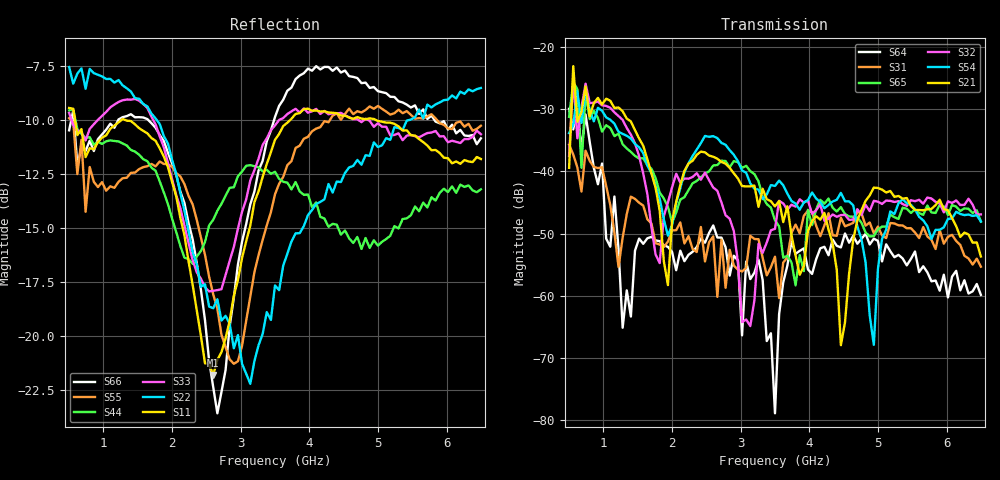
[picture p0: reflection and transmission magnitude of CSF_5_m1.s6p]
!Keysight Technologies,M9804A,MY58100912,A.14.10.03
!Date: Thursday, April 27, 2023 10:28:33
!Correction: S11(C  6-Port  )
!S12(C  6-Port  )
!S13(C  6-Port  )
!S14(C  6-Port  )
!S15(C  6-Port  )
!S16(C  6-Port  )
!S21(C  6-Port  )
!S22(C  6-Port  )
!S23(C  6-Port  )
!S24(C  6-Port  )
!S25(C  6-Port  )
!S26(C  6-Port  )
!S31(C  6-Port  )
!S32(C  6-Port  )
!S33(C  6-Port  )
!S34(C  6-Port  )
!S35(C  6-Port  )
!S36(C  6-Port  )
!S41(C  6-Port  )
!S42(C  6-Port  )
!S43(C  6-Port  )
!S44(C  6-Port  )
!S45(C  6-Port  )
!S46(C  6-Port  )
!S51(C  6-Port  )
!S52(C  6-Port  )
!S53(C  6-Port  )
!S54(C  6-Port  )
!S55(C  6-Port  )
!S56(C  6-Port  )
!S61(C  6-Port  )
!S62(C  6-Port  )
!S63(C  6-Port  )
!S64(C  6-Port  )
!S65(C  6-Port  )
!S66(C  6-Port  )
!S6P File: Measurement: :
# Hz S  RI  R 50
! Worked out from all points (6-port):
!   101 points, 500 MHz to 6.5 GHz, reference 50 ohm
!   strongest paths, dB at 500 MHz, 2 GHz, 3.5 GHz, 5 GHz, 6.5 GHz:
!     S21: -39.4, -48.0, -45.6, -42.7, -53.7
!     S54: -33.8, -48.6, -42.3, -55.7, -48.0
!     S32: -37.5, -42.6, -49.2, -44.9, -46.9
!     S65: -31.2, -48.2, -47.9, -49.3, -48.1
!     S31: -35.7, -49.5, -53.7, -48.9, -55.3
!     S64: -29.9, -52.9, -78.9, -51.2, -59.9
!   lowest |S11| = -21.8 dB at 2.6 GHz (marker M1), VSWR 1.18, Z = 42.7 + j1.99 ohm
!   |S11| at or under -10 dB: 585.2 MHz to 1.264 GHz (678.6 MHz wide, 73.4 % of centre); 1.312 GHz to 3.723 GHz (2.411 GHz wide, 95.8 % of centre); 4.966 GHz to end of sweep
